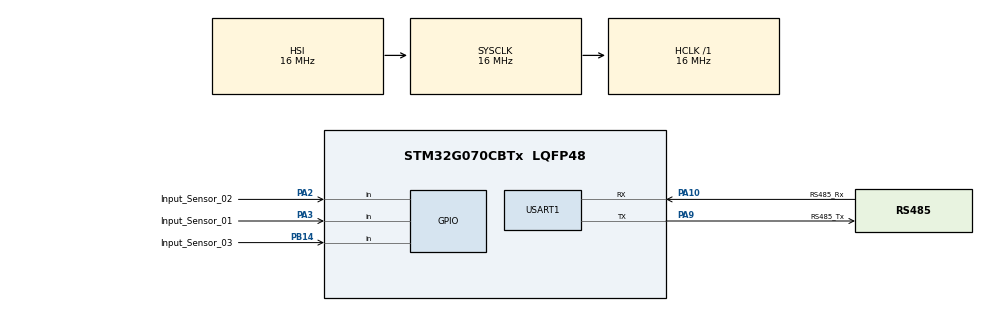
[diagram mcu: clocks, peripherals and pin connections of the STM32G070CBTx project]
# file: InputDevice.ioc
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Mcu.Family=STM32G0
Mcu.Name=STM32G070CBTx
Mcu.Package=LQFP48
NVIC.USART1_IRQn=true\:0\:0\:false\:false\:true\:true\:true\:true
PA10.GPIO_FMPA10=SYSCFG_FASTMODEPLUS_PA10
PA10.GPIO_Label=RS485_Rx
PA10.GPIO_PuPd=GPIO_PULLDOWN
PA10.GPIO_Speed=GPIO_SPEED_FREQ_VERY_HIGH
PA10.Mode=Asynchronous
PA10.Signal=USART1_RX
PA13.Mode=Serial_Wire
PA13.Signal=SYS_SWDIO
PA14-BOOT0.Mode=Serial_Wire
PA14-BOOT0.Signal=SYS_SWCLK
PA2.GPIO_Label=Input_Sensor_02
PA2.GPIO_PuPd=GPIO_PULLUP
PA2.Signal=GPIO_Input
PA3.GPIO_Label=Input_Sensor_01
PA3.GPIO_PuPd=GPIO_PULLUP
PA3.Signal=GPIO_Input
PA9.GPIO_FMPA9=SYSCFG_FASTMODEPLUS_PA9
PA9.GPIO_Label=RS485_Tx
PA9.GPIO_PuPd=GPIO_PULLUP
PA9.GPIO_Speed=GPIO_SPEED_FREQ_VERY_HIGH
PA9.Mode=Asynchronous
PA9.Signal=USART1_TX
PB14.GPIO_Label=Input_Sensor_03
PB14.GPIO_PuPd=GPIO_PULLUP
PB14.Signal=GPIO_Input
ProjectManager.HeapSize=0x200
ProjectManager.StackSize=0x400
ProjectManager.TargetToolchain=STM32CubeIDE
RCC.AHBFreq_Value=16000000
RCC.CortexFreq_Value=16000000
RCC.EXTERNAL_CLOCK_VALUE=48000
RCC.HCLKFreq_Value=16000000
RCC.HSE_VALUE=8000000
RCC.HSI_VALUE=16000000
RCC.LSE_VALUE=32768
RCC.SYSCLKFreq_VALUE=16000000
RCC.VCOOutputFreq_Value=128000000
TIM3.AutoReloadPreload=TIM_AUTORELOAD_PRELOAD_ENABLE
TIM3.Prescaler=16000
USART1.VirtualMode-Asynchronous=VM_ASYNC
VP_TIM3_VS_ClockSourceINT.Mode=Internal
board=custom

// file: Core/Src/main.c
/* USER CODE BEGIN Header */
/**
  ******************************************************************************
  * @file           : main.c
  * @brief          : Main program body
  ******************************************************************************
  * @attention
  *
  * Copyright (c) 2022 STMicroelectronics.
  * All rights reserved.
  *
  * This software is licensed under terms that can be found in the LICENSE file
  * in the root directory of this software component.
  * If no LICENSE file comes with this software, it is provided AS-IS.
  *
  ******************************************************************************
  */
/* USER CODE END Header */
#include "main.h"

/* USER CODE BEGIN Includes */
#include <stdio.h>
/* USER CODE END Includes */

TIM_HandleTypeDef htim3;

UART_HandleTypeDef huart1;

/* USER CODE BEGIN PV */
uint8_t buffComming = 0;
uint8_t rx_data[uartBytes];
uint8_t tx_data[uartBytes];
uint8_t rx_dataChar = 0;
uint16_t rx_count = 0;

uint16_t countingStatusInput1 = 0;
uint16_t countingStatusInput2 = 0;
uint16_t countingStatusInput3 = 0;

uint8_t checkSumCRC[crcBytes];
uint8_t debug = 0;
/* USER CODE END PV */

void SystemClock_Config(void);
static void MX_GPIO_Init(void);
static void MX_TIM3_Init(void);
static void MX_USART1_UART_Init(void);
/* USER CODE BEGIN PFP */
void clearUart(uint8_t *ptrBuffer, uint16_t sizeBuffer);
void Calc_CRC16(uint8_t *input, uint16_t size, uint8_t *output);
uint8_t CRC_MODBUS(uint8_t *input, uint8_t size);

void ModbusTransHandle(void);
/* USER CODE END PFP */

/* USER CODE BEGIN 0 */
void HAL_UART_RxCpltCallback(UART_HandleTypeDef *huart)
{
  UNUSED(huart);

  if(huart->Instance == USART1)
  {
    if(buffComming == 0)
    {
    	buffComming = 1;
    	HAL_TIM_Base_Start(&htim3);
    }

    HAL_UART_Receive_IT(&huart1, &rx_dataChar, 1);
    rx_data[rx_count] = rx_dataChar;
    rx_count++;
    __HAL_TIM_SET_COUNTER(&htim3,0);
  }
}
/* USER CODE END 0 */

int main(void)
{

  /* MCU Configuration--------------------------------------------------------*/

  /* Reset of all peripherals, Initializes the Flash interface and the Systick. */
  HAL_Init();

  /* Configure the system clock */
  SystemClock_Config();

  /* Initialize all configured peripherals */
  MX_GPIO_Init();
  MX_TIM3_Init();
  MX_USART1_UART_Init();
  /* USER CODE BEGIN 2 */
  HAL_TIM_Base_Start(&htim3);
  HAL_UART_Receive_IT(&huart1, &rx_dataChar, 1);
  uint8_t preset_sensor_1 = 0;
  uint8_t preset_sensor_2 = 0;
  uint8_t preset_sensor_3 = 0;
  /* USER CODE END 2 */

  /* Infinite loop */
  /* USER CODE BEGIN WHILE */
  while (1)
  {
	  // Dem san pham
    /*if(HAL_GPIO_ReadPin(Input_Sensor_01_GPIO_Port, Input_Sensor_01_Pin) == GPIO_PIN_RESET)
    {
      HAL_Delay(delayReduceNoise);
      if(HAL_GPIO_ReadPin(Input_Sensor_01_GPIO_Port, Input_Sensor_01_Pin) == GPIO_PIN_RESET) preset_sensor_1 = 1;
    }
    if((HAL_GPIO_ReadPin(Input_Sensor_01_GPIO_Port, Input_Sensor_01_Pin) == GPIO_PIN_SET) && (preset_sensor_1 == 1))
    {
      HAL_Delay(delayReduceNoise);
      if(HAL_GPIO_ReadPin(Input_Sensor_01_GPIO_Port, Input_Sensor_01_Pin) == GPIO_PIN_SET)
      {
        preset_sensor_1 = 0;
        countingStatusInput1++;
      }
    }

    if(HAL_GPIO_ReadPin(Input_Sensor_02_GPIO_Port, Input_Sensor_02_Pin) == GPIO_PIN_RESET)
    {
      HAL_Delay(delayReduceNoise);
      if(HAL_GPIO_ReadPin(Input_Sensor_02_GPIO_Port, Input_Sensor_02_Pin) == GPIO_PIN_RESET) preset_sensor_2 = 1;
    }
    if((HAL_GPIO_ReadPin(Input_Sensor_02_GPIO_Port, Input_Sensor_02_Pin) == GPIO_PIN_SET) && (preset_sensor_2 == 1))
    {
      HAL_Delay(delayReduceNoise);
      if(HAL_GPIO_ReadPin(Input_Sensor_02_GPIO_Port, Input_Sensor_02_Pin) == GPIO_PIN_SET)
      {
        preset_sensor_2 = 0;
        countingStatusInput2++;
      }
    }

    if(HAL_GPIO_ReadPin(Input_Sensor_03_GPIO_Port, Input_Sensor_03_Pin) == GPIO_PIN_RESET)
    {
      HAL_Delay(delayReduceNoise);
      if(HAL_GPIO_ReadPin(Input_Sensor_03_GPIO_Port, Input_Sensor_03_Pin) == GPIO_PIN_RESET) preset_sensor_3 = 1;
    }
    if((HAL_GPIO_ReadPin(Input_Sensor_03_GPIO_Port, Input_Sensor_03_Pin) == GPIO_PIN_SET) && (preset_sensor_3 == 1))
    {
      HAL_Delay(delayReduceNoise);
      if(HAL_GPIO_ReadPin(Input_Sensor_03_GPIO_Port, Input_Sensor_03_Pin) == GPIO_PIN_SET)
      {
        preset_sensor_3 = 0;
        countingStatusInput3++;
      }
    }*/

	  //xac dinh trang thai chan
	if(HAL_GPIO_ReadPin(Input_Sensor_01_GPIO_Port, Input_Sensor_01_Pin) == GPIO_PIN_RESET)
	{
		HAL_Delay(delayReduceNoise);
		if(HAL_GPIO_ReadPin(Input_Sensor_01_GPIO_Port, Input_Sensor_01_Pin) == GPIO_PIN_RESET) countingStatusInput1 = 1;
	}
	else countingStatusInput1 = 0;

	if(HAL_GPIO_ReadPin(Input_Sensor_02_GPIO_Port, Input_Sensor_02_Pin) == GPIO_PIN_RESET)
	{
		HAL_Delay(delayReduceNoise);
		if(HAL_GPIO_ReadPin(Input_Sensor_02_GPIO_Port, Input_Sensor_02_Pin) == GPIO_PIN_RESET) countingStatusInput2 = 1;
	}
	else countingStatusInput2 = 0;

	if(HAL_GPIO_ReadPin(Input_Sensor_03_GPIO_Port, Input_Sensor_03_Pin) == GPIO_PIN_RESET)
	{
		HAL_Delay(delayReduceNoise);
		if(HAL_GPIO_ReadPin(Input_Sensor_03_GPIO_Port, Input_Sensor_03_Pin) == GPIO_PIN_RESET) countingStatusInput3 = 1;
	}
	else countingStatusInput3 = 0;

    if(__HAL_TIM_GetCounter(&htim3) > 5)
    {
      __HAL_TIM_SET_COUNTER(&htim3,0);
      HAL_TIM_Base_Stop(&htim3);
      buffComming = 0;
      if(CRC_MODBUS(rx_data, rx_count) && rx_data[0]== address) ModbusTransHandle();
      clearUart(rx_data, uartBytes);
    }
    /* USER CODE END WHILE */

  }
}

void SystemClock_Config(void)
{
  RCC_OscInitTypeDef RCC_OscInitStruct = {0};
  RCC_ClkInitTypeDef RCC_ClkInitStruct = {0};

  /** Configure the main internal regulator output voltage
  */
  HAL_PWREx_ControlVoltageScaling(PWR_REGULATOR_VOLTAGE_SCALE1);

  /** Initializes the RCC Oscillators according to the specified parameters
  * in the RCC_OscInitTypeDef structure.
  */
  RCC_OscInitStruct.OscillatorType = RCC_OSCILLATORTYPE_HSI;
  RCC_OscInitStruct.HSIState = RCC_HSI_ON;
  RCC_OscInitStruct.HSIDiv = RCC_HSI_DIV1;
  RCC_OscInitStruct.HSICalibrationValue = RCC_HSICALIBRATION_DEFAULT;
  RCC_OscInitStruct.PLL.PLLState = RCC_PLL_NONE;
  if (HAL_RCC_OscConfig(&RCC_OscInitStruct) != HAL_OK)
  {
    Error_Handler();
  }

  /** Initializes the CPU, AHB and APB buses clocks
  */
  RCC_ClkInitStruct.ClockType = RCC_CLOCKTYPE_HCLK|RCC_CLOCKTYPE_SYSCLK
                              |RCC_CLOCKTYPE_PCLK1;
  RCC_ClkInitStruct.SYSCLKSource = RCC_SYSCLKSOURCE_HSI;
  RCC_ClkInitStruct.AHBCLKDivider = RCC_SYSCLK_DIV1;
  RCC_ClkInitStruct.APB1CLKDivider = RCC_HCLK_DIV1;

  if (HAL_RCC_ClockConfig(&RCC_ClkInitStruct, FLASH_LATENCY_0) != HAL_OK)
  {
    Error_Handler();
  }
}

static void MX_TIM3_Init(void)
{

  TIM_ClockConfigTypeDef sClockSourceConfig = {0};
  TIM_MasterConfigTypeDef sMasterConfig = {0};

  htim3.Instance = TIM3;
  htim3.Init.Prescaler = 16000;
  htim3.Init.CounterMode = TIM_COUNTERMODE_UP;
  htim3.Init.Period = 65535;
  htim3.Init.ClockDivision = TIM_CLOCKDIVISION_DIV1;
  htim3.Init.AutoReloadPreload = TIM_AUTORELOAD_PRELOAD_ENABLE;
  if (HAL_TIM_Base_Init(&htim3) != HAL_OK)
  {
    Error_Handler();
  }
  sClockSourceConfig.ClockSource = TIM_CLOCKSOURCE_INTERNAL;
  if (HAL_TIM_ConfigClockSource(&htim3, &sClockSourceConfig) != HAL_OK)
  {
    Error_Handler();
  }
  sMasterConfig.MasterOutputTrigger = TIM_TRGO_RESET;
  sMasterConfig.MasterSlaveMode = TIM_MASTERSLAVEMODE_DISABLE;
  if (HAL_TIMEx_MasterConfigSynchronization(&htim3, &sMasterConfig) != HAL_OK)
  {
    Error_Handler();
  }

}

static void MX_USART1_UART_Init(void)
{

  huart1.Instance = USART1;
  huart1.Init.BaudRate = 115200;
  huart1.Init.WordLength = UART_WORDLENGTH_8B;
  huart1.Init.StopBits = UART_STOPBITS_1;
  huart1.Init.Parity = UART_PARITY_NONE;
  huart1.Init.Mode = UART_MODE_TX_RX;
  huart1.Init.HwFlowCtl = UART_HWCONTROL_NONE;
  huart1.Init.OverSampling = UART_OVERSAMPLING_16;
  huart1.Init.OneBitSampling = UART_ONE_BIT_SAMPLE_DISABLE;
  huart1.Init.ClockPrescaler = UART_PRESCALER_DIV1;
  huart1.AdvancedInit.AdvFeatureInit = UART_ADVFEATURE_NO_INIT;
  if (HAL_UART_Init(&huart1) != HAL_OK)
  {
    Error_Handler();
  }
  if (HAL_UARTEx_SetTxFifoThreshold(&huart1, UART_TXFIFO_THRESHOLD_1_8) != HAL_OK)
  {
    Error_Handler();
  }
  if (HAL_UARTEx_SetRxFifoThreshold(&huart1, UART_RXFIFO_THRESHOLD_1_8) != HAL_OK)
  {
    Error_Handler();
  }
  if (HAL_UARTEx_DisableFifoMode(&huart1) != HAL_OK)
  {
    Error_Handler();
  }

}

static void MX_GPIO_Init(void)
{
  GPIO_InitTypeDef GPIO_InitStruct = {0};

  /* GPIO Ports Clock Enable */
  __HAL_RCC_GPIOA_CLK_ENABLE();
  __HAL_RCC_GPIOB_CLK_ENABLE();

  /*Configure GPIO pins : Input_Sensor_02_Pin Input_Sensor_01_Pin */
  GPIO_InitStruct.Pin = Input_Sensor_02_Pin|Input_Sensor_01_Pin;
  GPIO_InitStruct.Mode = GPIO_MODE_INPUT;
  GPIO_InitStruct.Pull = GPIO_PULLUP;
  HAL_GPIO_Init(GPIOA, &GPIO_InitStruct);

  /*Configure GPIO pin : Input_Sensor_03_Pin */
  GPIO_InitStruct.Pin = Input_Sensor_03_Pin;
  GPIO_InitStruct.Mode = GPIO_MODE_INPUT;
  GPIO_InitStruct.Pull = GPIO_PULLUP;
  HAL_GPIO_Init(Input_Sensor_03_GPIO_Port, &GPIO_InitStruct);

}

/* USER CODE BEGIN 4 */
void clearUart(uint8_t *ptrBuffer, uint16_t sizeBuffer)
{
  if(ptrBuffer == &rx_data[0]) rx_count = 0;

	for(uint16_t i = 0; i < sizeBuffer; i++) ptrBuffer[i] = '\0';
}

void appendString(uint8_t* buff_1_name, uint16_t *buff_1_len, uint8_t* buff_2_name, uint16_t buff_2_len)
{
	uint16_t x = 0;
  for (uint16_t length = *buff_1_len; length < *buff_1_len + buff_2_len; length++)
  {
    buff_1_name[length] = buff_2_name[x];
    x++;
  }
  *buff_1_len = *buff_1_len + buff_2_len;
}

void Calc_CRC16(uint8_t *input, uint16_t size, uint8_t *output)
{
  uint16_t reg_crc = 0xFFFF;

  for(uint16_t i = 0; i < size; i++)
  {
    reg_crc ^= input[i];
    for(uint8_t j = 0; j < 8; j++)
    {
      if((reg_crc & 0x01) == 1) reg_crc = (reg_crc >> 1) ^ 0xA001;
      else reg_crc = reg_crc >> 1;
    }
  }

  output[1] = (reg_crc >> 8) & 0xFF;
  output[0] = reg_crc & 0xFF;
}

uint8_t CRC_MODBUS(uint8_t *input, uint8_t size)
{
  uint16_t check_sum[2];
  uint16_t reg_crc = 0xFFFF;

  for(uint8_t i = 0; i < size - 2; i++) { //tru 2 bytes CRC cuoi
    reg_crc ^= input[i];

    for(uint8_t j = 0; j < 8; j++) {
      if((reg_crc & 0x01) == 1) reg_crc = (reg_crc >> 1) ^ 0xA001;
      else reg_crc = reg_crc >> 1;
    }

    check_sum[1] = (reg_crc >> 8) &0xFF;
    check_sum[0] = reg_crc & 0xFF;
    //debug = check_sum[0];
  }

  if(input[size-2] == check_sum[0] && input[size-1] == check_sum[1]) return 1;
  else return 0;
}

void ModbusTransHandle(void)
{
  tx_data[0] = address;
  tx_data[1] = function;
  tx_data[2] = amongBytes;
  tx_data[3] = countingStatusInput1 >> 8;
  tx_data[4] = countingStatusInput1;
  tx_data[5] = countingStatusInput2 >> 8;
  tx_data[6] = countingStatusInput2;
  tx_data[7] = countingStatusInput3 >> 8;
  tx_data[8] = countingStatusInput3;

  Calc_CRC16(tx_data, 9, checkSumCRC);

  tx_data[9] = checkSumCRC[0];
  tx_data[10] = checkSumCRC[1];
  HAL_UART_Transmit(&huart1, tx_data, 11, 1000);

  clearUart(tx_data, uartBytes);
}

/* USER CODE END 4 */

void Error_Handler(void)
{
  __disable_irq();
  while (1)
  {
  }
}
